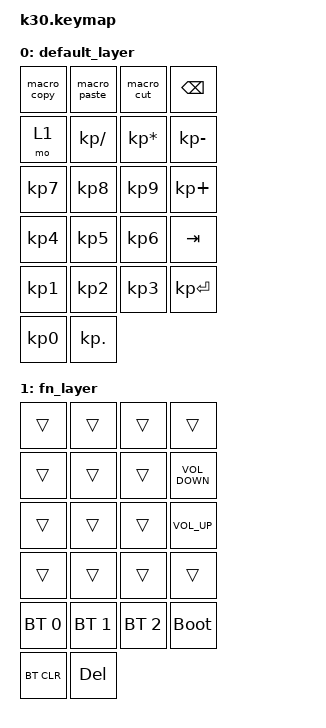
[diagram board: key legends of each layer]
#include <behaviors.dtsi>
#include <dt-bindings/zmk/bt.h>
#include <dt-bindings/zmk/keys.h>
#include <dt-bindings/zmk/led.h>

/ {
    behaviors {
        // Ctrl+C 复制宏
        macro_copy: behavior_macro_copy {
            compatible = "zmk,behavior-macro";
            label = "MACRO_COPY";
            #binding-cells = <0>;
            bindings = <
                &kp LC(C)
            >;
            wait-ms = <10>; // 小延迟确保组合键正确执行
        };
        
        // Ctrl+V 粘贴宏
        macro_paste: behavior_macro_paste {
            compatible = "zmk,behavior-macro";
            label = "MACRO_PASTE";
            #binding-cells = <0>;
            bindings = <
                &kp LC(V)
            >;
            wait-ms = <10>;
        };
        
        // Ctrl+X 剪切宏
        macro_cut: behavior_macro_cut {
            compatible = "zmk,behavior-macro";
            label = "MACRO_CUT";
            #binding-cells = <0>;
            bindings = <
                &kp LC(X)
            >;
            wait-ms = <10>;
        };

    };
    
    
    keymap {
        compatible = "zmk,keymap";

        default_layer {
        /*
        ----------------------------------------------
        |    COPY    |     PASTE    |     CUT      |    BSPC    |
        |     FN     |      /       |      *       |     -      |
        |     7      |      8       |      9       |     +      |
        |     4      |      5       |      6       |    TAP     |
        |     1      |      2       |      3       |    ENTER   |
        |     0      |      .       |
        */
            bindings = <
                &macro_copy   &macro_paste    &macro_cut     &kp BSPC
                &mo 1       &kp KP_SLASH    &kp KP_ASTERISK  &kp KP_MINUS
                &kp KP_N7     &kp KP_N8       &kp KP_N9      &kp KP_PLUS
                &kp KP_N4     &kp KP_N5       &kp KP_N6      &kp TAB
                &kp KP_N1     &kp KP_N2       &kp KP_N3      &kp KP_ENTER
                &kp KP_N0     &kp KP_DOT           
            >;
        };

        fn_layer {
            bindings = <
                &trans        &trans          &trans         &trans
                &trans        &trans          &trans         &kp K_VOLUME_DOWN
                &trans        &trans          &trans         &kp K_VOLUME_UP
                &trans        &trans          &trans         &trans  
                &bt BT_SEL 0  &bt BT_SEL 1    &bt BT_SEL 2   &bootloader
                &bt BT_CLR    &kp DEL
            >;
        };
    };
};
